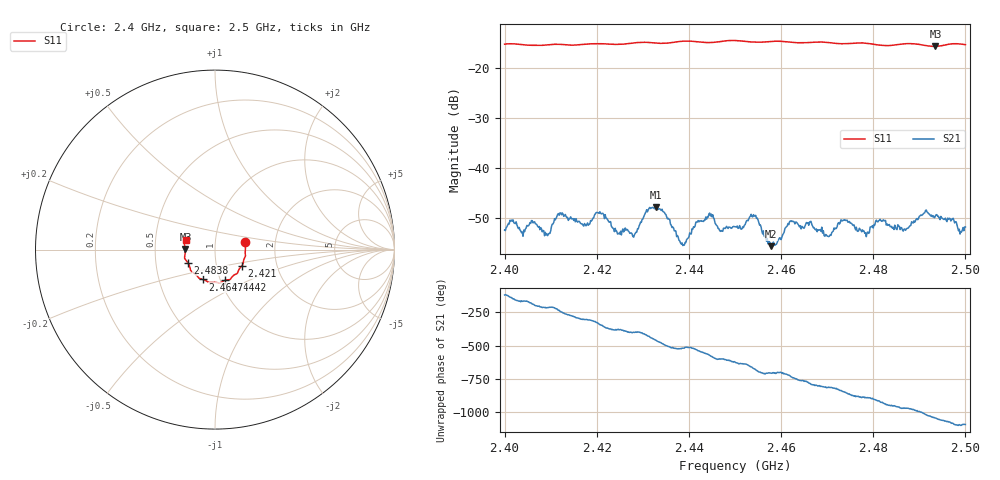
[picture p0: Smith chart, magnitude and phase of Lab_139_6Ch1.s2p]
# Hz S RI R 50
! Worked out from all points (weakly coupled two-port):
!   601 points, 2.4 GHz to 2.5 GHz, reference 50 ohm
!   highest |S21| = -47.87 dB at 2.4328 GHz (marker M1); lowest = -55.7 dB at 2.4578 GHz (marker M2)
!   lowest |S11| = -15.6 dB at 2.4935 GHz (marker M3), VSWR 1.40, Z = 35.8 + j0.197 ohm
!   |S11| at or under -10 dB: start of sweep to end of sweep
!   S12 and S22 are empty: the file has one direction only
!   S11 on the Smith chart (normalised r, x): 2.4 GHz: 1.40, +0.12; 2.421 GHz: 1.33, -0.24; 2.4442 GHz: 1.05, -0.37; 2.4647 GHz: 0.83, -0.28; 2.4838 GHz: 0.73, -0.11; 2.5 GHz: 0.72, +0.08
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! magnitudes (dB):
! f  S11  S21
! 2.4 GHz  -15.2  -52.4
! 2.4092 GHz  -15.4  -53.2
! 2.4122 GHz  -15.2  -49.0
! 2.4167 GHz  -15.3  -51.2
! 2.421 GHz  -15.1  -49.2
! 2.4278 GHz  -15.0  -53.7
! 2.4328 GHz  -15.0  -47.9
! 2.4333 GHz  -15.0  -48.1
! 2.4387 GHz  -14.6  -55.5
! 2.4442 GHz  -14.9  -49.9
! 2.45 GHz  -14.5  -51.8
! 2.454 GHz  -14.8  -49.3
! 2.4578 GHz  -14.7  -55.7
! 2.462 GHz  -14.8  -50.6
! 2.4647 GHz  -14.9  -51.8
! 2.4667 GHz  -14.8  -51.3
! 2.47 GHz  -14.9  -53.6
! 2.4735 GHz  -15.1  -50.4
! 2.4833 GHz  -15.5  -51.4
! 2.4838 GHz  -15.5  -51.8
! 2.4935 GHz  -15.6  -49.5
! 2.5 GHz  -15.3  -51.8
